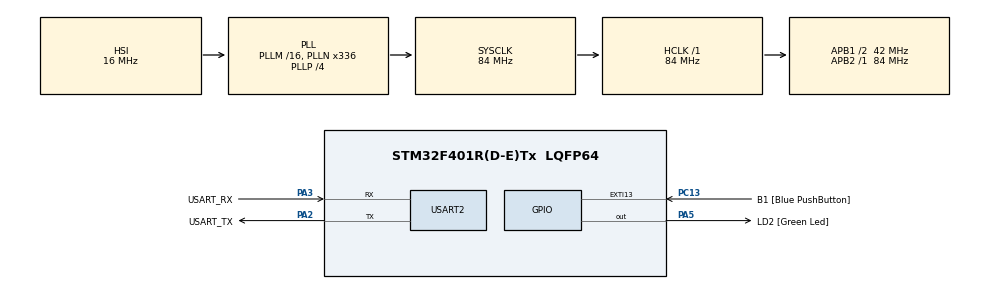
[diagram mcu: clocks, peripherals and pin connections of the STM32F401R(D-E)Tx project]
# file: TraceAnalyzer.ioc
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FREERTOS.INCLUDE_xSemaphoreGetMutexHolder=1
FREERTOS.Mutexes01=Mutex,Dynamic,NULL
FREERTOS.Queues01=File_tapis_arrivee,10,uint16_t,0,Dynamic,NULL,NULL;File_tapis_relecture,10,uint16_t,0,Dynamic,NULL,NULL;File_depart_national,10,uint16_t,0,Dynamic,NULL,NULL;File_depart_international,10,uint16_t,0,Dynamic,NULL,NULL
FREERTOS.Tasks01=defaultTask,24,128,IdleTask,Default,NULL,Dynamic,NULL,NULL;Task_Tache_arri,8,128,Tache_arrivee,Default,NULL,Dynamic,NULL,NULL;Task_Tache_lect,8,128,Tache_lecture_rapide,Default,NULL,Dynamic,NULL,NULL;Task_Tache_rele,8,128,Tache_relecture,Default,NULL,Dynamic,NULL,NULL;Task_Tache_depa,8,128,Tache_depart_national,Default,NULL,Dynamic,NULL,NULL;Task_Tache_inte,8,128,Tache_depart_international,Default,NULL,Dynamic,NULL,NULL
Mcu.Family=STM32F4
Mcu.Name=STM32F401R(D-E)Tx
Mcu.Package=LQFP64
NVIC.PriorityGroup=NVIC_PRIORITYGROUP_4
NVIC.TIM2_IRQn=true\:0\:0\:false\:false\:true\:false\:false\:true
NVIC.TimeBase=TIM2_IRQn
NVIC.TimeBaseIP=TIM2
PA13.GPIO_Label=TMS
PA13.Mode=Serial_Wire
PA13.Signal=SYS_JTMS-SWDIO
PA14.GPIO_Label=TCK
PA14.Mode=Serial_Wire
PA14.Signal=SYS_JTCK-SWCLK
PA2.GPIO_Label=USART_TX
PA2.GPIO_Mode=GPIO_MODE_AF_PP
PA2.GPIO_PuPd=GPIO_NOPULL
PA2.GPIO_Speed=GPIO_SPEED_FREQ_LOW
PA2.Mode=Asynchronous
PA2.Signal=USART2_TX
PA3.GPIO_Label=USART_RX
PA3.GPIO_Mode=GPIO_MODE_AF_PP
PA3.GPIO_PuPd=GPIO_NOPULL
PA3.GPIO_Speed=GPIO_SPEED_FREQ_LOW
PA3.Mode=Asynchronous
PA3.Signal=USART2_RX
PA5.GPIO_Label=LD2 [Green Led]
PA5.GPIO_Mode=GPIO_MODE_OUTPUT_PP
PA5.GPIO_PuPd=GPIO_NOPULL
PA5.GPIO_Speed=GPIO_SPEED_FREQ_LOW
PA5.Signal=GPIO_Output
PB3.GPIO_Label=SWO
PB3.Signal=SYS_JTDO-SWO
PC13-ANTI_TAMP.GPIO_Label=B1 [Blue PushButton]
PC13-ANTI_TAMP.GPIO_ModeDefaultEXTI=GPIO_MODE_IT_FALLING
PC13-ANTI_TAMP.GPIO_PuPd=GPIO_NOPULL
PC13-ANTI_TAMP.Signal=GPXTI13
PC14-OSC32_IN.Mode=LSE-External-Oscillator
PC14-OSC32_IN.Signal=RCC_OSC32_IN
PC15-OSC32_OUT.Mode=LSE-External-Oscillator
PC15-OSC32_OUT.Signal=RCC_OSC32_OUT
PH0\ -\ OSC_IN.Mode=HSE-External-Clock-Source
PH0\ -\ OSC_IN.Signal=RCC_OSC_IN
PH1\ -\ OSC_OUT.Mode=HSE-External-Clock-Source
PH1\ -\ OSC_OUT.Signal=RCC_OSC_OUT
ProjectManager.HeapSize=0x200
ProjectManager.StackSize=0x400
ProjectManager.TargetToolchain=STM32CubeIDE
RCC.48MHZClocksFreq_Value=48000000
RCC.AHBFreq_Value=84000000
RCC.APB1CLKDivider=RCC_HCLK_DIV2
RCC.APB1Freq_Value=42000000
RCC.APB1TimFreq_Value=84000000
RCC.APB2Freq_Value=84000000
RCC.APB2TimFreq_Value=84000000
RCC.CortexFreq_Value=84000000
RCC.HCLKFreq_Value=84000000
RCC.HSE_VALUE=8000000
RCC.HSI_VALUE=16000000
RCC.PLLN=336
RCC.PLLP=RCC_PLLP_DIV4
RCC.PLLQ=7
RCC.SYSCLKFreq_VALUE=84000000
RCC.SYSCLKSource=RCC_SYSCLKSOURCE_PLLCLK
RCC.VCOOutputFreq_Value=336000000
USART2.VirtualMode=VM_ASYNC
VP_FREERTOS_VS_CMSIS_V2.Mode=CMSIS_V2
VP_SYS_VS_tim2.Mode=TIM2
board=NUCLEO-F401RE

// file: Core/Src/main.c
/* USER CODE BEGIN Header */
/**
  ******************************************************************************
  * @file           : main.c
  * @brief          : Main program body
  ******************************************************************************
  * @attention
  *
  * <h2><center>&copy; Copyright (c) 2020 STMicroelectronics.
  * All rights reserved.</center></h2>
  *
  * This software component is licensed by ST under BSD 3-Clause license,
  * the "License"; You may not use this file except in compliance with the
  * License. You may obtain a copy of the License at:
  *                        opensource.org/licenses/BSD-3-Clause
  *
  ******************************************************************************
  */
/* USER CODE END Header */
#include "main.h"
#include "cmsis_os.h"
#include "FreeRTOS.h"

/* USER CODE BEGIN Includes */
#include "queue.h"
#include "semphr.h"
#include <string.h>
#include <stdio.h>
/* USER CODE END Includes */

/* USER CODE BEGIN PTD */
// Création du sémaphore pour la ressource partagée
xSemaphoreHandle Semaphore;
xSemaphoreHandle SemaphoreLectureRapide;
xSemaphoreHandle SemaphoreReLecture;
xSemaphoreHandle SemaphoreNational;
xSemaphoreHandle SemaphoreInternational;
/* USER CODE END PTD */

/* USER CODE BEGIN PD */

// Définition du nombre d'éléments pour les files
#define x 10 // nombre d'éléments pour la File_tapis_arrivee
#define y 10 // nombre d'éléments pour la File_depart_national et File_depart_international
#define z 10 // nombre d'éléments pour la File_tapis_relecture

// Définition du delai pour la tâche de relecture
#define DELAI_RELECTURE   500

// Définition des timeout pour les files en ms
#define TIMEOUT_FILE_TAPIS_ARRIVEE   100
#define TIMEOUT_FILE_TAPIS_RELECTURE 100
#define TIMEOUT_FILE_TAPIS_DEPART	100  // Timeout identique en national ou international

/* USER CODE END PD */

UART_HandleTypeDef huart2;

/* Definitions for defaultTask */
/* Definitions for Task_Tache_arri */
osThreadId_t Task_Tache_arriHandle;
const osThreadAttr_t Task_Tache_arri_attributes = {
  .name = "Task_Tache_arri",
  .priority = (osPriority_t) osPriorityHigh,
  .stack_size = 128 * 4
};
/* Definitions for Task_Tache_lect */
osThreadId_t Task_Tache_lectHandle;
const osThreadAttr_t Task_Tache_lect_attributes = {
  .name = "Task_Tache_lect",
  .priority = (osPriority_t) osPriorityNormal,
  .stack_size = 128 * 4
};
/* Definitions for Task_Tache_rele */
osThreadId_t Task_Tache_releHandle;
const osThreadAttr_t Task_Tache_rele_attributes = {
  .name = "Task_Tache_rele",
  .priority = (osPriority_t) osPriorityNormal,
  .stack_size = 128 * 4
};
/* Definitions for Task_Tache_depa */
osThreadId_t Task_Tache_depaHandle;
const osThreadAttr_t Task_Tache_depa_attributes = {
  .name = "Task_Tache_depa",
  .priority = (osPriority_t) osPriorityNormal,
  .stack_size = 128 * 4
};
/* Definitions for Task_Tache_inte */
osThreadId_t Task_Tache_inteHandle;
const osThreadAttr_t Task_Tache_inte_attributes = {
  .name = "Task_Tache_inte",
  .priority = (osPriority_t) osPriorityNormal,
  .stack_size = 128 * 4
};
/* Definitions for File_tapis_arrivee */
osMessageQueueId_t File_tapis_arriveeHandle;
const osMessageQueueAttr_t File_tapis_arrivee_attributes = {
  .name = "File_tapis_arrivee"
};
/* Definitions for File_tapis_relecture */
osMessageQueueId_t File_tapis_relectureHandle;
const osMessageQueueAttr_t File_tapis_relecture_attributes = {
  .name = "File_tapis_relecture"
};
/* Definitions for File_depart_national */
osMessageQueueId_t File_depart_nationalHandle;
const osMessageQueueAttr_t File_depart_national_attributes = {
  .name = "File_depart_national"
};
/* Definitions for File_depart_international */
osMessageQueueId_t File_depart_internationalHandle;
const osMessageQueueAttr_t File_depart_international_attributes = {
  .name = "File_depart_international"
};
/* Definitions for Mutex */
osMutexId_t MutexHandle;
const osMutexAttr_t Mutex_attributes = {
  .name = "Mutex"
};

void SystemClock_Config(void);
static void MX_GPIO_Init(void);
static void MX_USART2_UART_Init(void);
void vApplicationIdleHook( void );
void Tache_arrivee(void *argument);
void Tache_lecture_rapide(void *argument);
void Tache_relecture(void *argument);
void Tache_depart_national(void *argument);
void Tache_depart_international(void *argument);

int main(void)
{

  /* MCU Configuration--------------------------------------------------------*/

  /* Reset of all peripherals, Initializes the Flash interface and the Systick. */
  HAL_Init();

  /* Configure the system clock */
  SystemClock_Config();

  /* Initialize all configured peripherals */
  MX_GPIO_Init();
  MX_USART2_UART_Init();
  /* USER CODE BEGIN 2 */

  vTraceEnable(TRC_START);

  /* USER CODE END 2 */

  /* Init scheduler */
  osKernelInitialize();
  /* Create the mutex(es) */
  /* creation of Mutex */
  MutexHandle = osMutexNew(&Mutex_attributes);

  /* USER CODE BEGIN RTOS_SEMAPHORES */
  /* add semaphores, ... */

  Semaphore = xSemaphoreCreateMutex();

  SemaphoreLectureRapide = xSemaphoreCreateMutex();

  SemaphoreReLecture = xSemaphoreCreateMutex();

  SemaphoreInternational = xSemaphoreCreateMutex();

  SemaphoreNational = xSemaphoreCreateMutex();
  /* USER CODE END RTOS_SEMAPHORES */

  /* Create the queue(s) */
  /* creation of File_tapis_arrivee */
  File_tapis_arriveeHandle = osMessageQueueNew (x, sizeof(unsigned int), &File_tapis_arrivee_attributes);

  /* creation of File_tapis_relecture */
  File_tapis_relectureHandle = osMessageQueueNew (y, sizeof(unsigned int), &File_tapis_relecture_attributes);

  /* creation of File_depart_national */
  File_depart_nationalHandle = osMessageQueueNew (z, sizeof(unsigned int), &File_depart_national_attributes);

  /* creation of File_depart_international */
  File_depart_internationalHandle = osMessageQueueNew (z, sizeof(unsigned int), &File_depart_international_attributes);

  /* Create the thread(s) */
  /* creation of Task_Tache_arri */
  Task_Tache_arriHandle = osThreadNew(Tache_arrivee, NULL, &Task_Tache_arri_attributes);

  /* Start scheduler */
  osKernelStart();

  /* We should never get here as control is now taken by the scheduler */
  /* Infinite loop */
  while (1)
  {

  }
}

void SystemClock_Config(void)
{
  RCC_OscInitTypeDef RCC_OscInitStruct = {0};
  RCC_ClkInitTypeDef RCC_ClkInitStruct = {0};

  /** Configure the main internal regulator output voltage
  */
  __HAL_RCC_PWR_CLK_ENABLE();
  __HAL_PWR_VOLTAGESCALING_CONFIG(PWR_REGULATOR_VOLTAGE_SCALE2);
  /** Initializes the RCC Oscillators according to the specified parameters
  * in the RCC_OscInitTypeDef structure.
  */
  RCC_OscInitStruct.OscillatorType = RCC_OSCILLATORTYPE_HSI;
  RCC_OscInitStruct.HSIState = RCC_HSI_ON;
  RCC_OscInitStruct.HSICalibrationValue = RCC_HSICALIBRATION_DEFAULT;
  RCC_OscInitStruct.PLL.PLLState = RCC_PLL_ON;
  RCC_OscInitStruct.PLL.PLLSource = RCC_PLLSOURCE_HSI;
  RCC_OscInitStruct.PLL.PLLM = 16;
  RCC_OscInitStruct.PLL.PLLN = 336;
  RCC_OscInitStruct.PLL.PLLP = RCC_PLLP_DIV4;
  RCC_OscInitStruct.PLL.PLLQ = 7;
  if (HAL_RCC_OscConfig(&RCC_OscInitStruct) != HAL_OK)
  {
    Error_Handler();
  }
  /** Initializes the CPU, AHB and APB buses clocks
  */
  RCC_ClkInitStruct.ClockType = RCC_CLOCKTYPE_HCLK|RCC_CLOCKTYPE_SYSCLK
                              |RCC_CLOCKTYPE_PCLK1|RCC_CLOCKTYPE_PCLK2;
  RCC_ClkInitStruct.SYSCLKSource = RCC_SYSCLKSOURCE_PLLCLK;
  RCC_ClkInitStruct.AHBCLKDivider = RCC_SYSCLK_DIV1;
  RCC_ClkInitStruct.APB1CLKDivider = RCC_HCLK_DIV2;
  RCC_ClkInitStruct.APB2CLKDivider = RCC_HCLK_DIV1;

  if (HAL_RCC_ClockConfig(&RCC_ClkInitStruct, FLASH_LATENCY_2) != HAL_OK)
  {
    Error_Handler();
  }
}

static void MX_USART2_UART_Init(void)
{

  huart2.Instance = USART2;
  huart2.Init.BaudRate = 115200;
  huart2.Init.WordLength = UART_WORDLENGTH_8B;
  huart2.Init.StopBits = UART_STOPBITS_1;
  huart2.Init.Parity = UART_PARITY_NONE;
  huart2.Init.Mode = UART_MODE_TX_RX;
  huart2.Init.HwFlowCtl = UART_HWCONTROL_NONE;
  huart2.Init.OverSampling = UART_OVERSAMPLING_16;
  if (HAL_UART_Init(&huart2) != HAL_OK)
  {
    Error_Handler();
  }

}

static void MX_GPIO_Init(void)
{
  GPIO_InitTypeDef GPIO_InitStruct = {0};

  /* GPIO Ports Clock Enable */
  __HAL_RCC_GPIOC_CLK_ENABLE();
  __HAL_RCC_GPIOH_CLK_ENABLE();
  __HAL_RCC_GPIOA_CLK_ENABLE();
  __HAL_RCC_GPIOB_CLK_ENABLE();

  /*Configure GPIO pin Output Level */
  HAL_GPIO_WritePin(LD2_GPIO_Port, LD2_Pin, GPIO_PIN_RESET);

  /*Configure GPIO pin : B1_Pin */
  GPIO_InitStruct.Pin = B1_Pin;
  GPIO_InitStruct.Mode = GPIO_MODE_IT_FALLING;
  GPIO_InitStruct.Pull = GPIO_NOPULL;
  HAL_GPIO_Init(B1_GPIO_Port, &GPIO_InitStruct);

  /*Configure GPIO pin : LD2_Pin */
  GPIO_InitStruct.Pin = LD2_Pin;
  GPIO_InitStruct.Mode = GPIO_MODE_OUTPUT_PP;
  GPIO_InitStruct.Pull = GPIO_NOPULL;
  GPIO_InitStruct.Speed = GPIO_SPEED_FREQ_LOW;
  HAL_GPIO_Init(LD2_GPIO_Port, &GPIO_InitStruct);

}

/* USER CODE BEGIN 4 */
void affiche_message(char *txt){
	//semaphore take
	if (xSemaphoreTake(Semaphore,(portTickType)1000/portTICK_RATE_MS)) //On prend la ressource partagée
	{
		HAL_UART_Transmit(&huart2, txt, strlen(txt), HAL_MAX_DELAY);
	}
	xSemaphoreGive(Semaphore); //On rend le jeton
}
/* USER CODE END 4 */

void vApplicationIdleHook(void)
{
	for(;;){

	}
	vTaskDelete( NULL );
}

void Tache_arrivee(void *argument)
{
	unsigned int liste_colis[]={ 1,  3,  1,  2,  3,  0}; // Etat des bits B2, B1 et B0 -> 0 à 3 en décimal car B2=0
	unsigned int liste_delai[]={ 5,100,200, 300,40, 500}; // Temps d'attente en ms pour le colis suivant
	unsigned int num_colis = 0; // Initilisation du numéro de colis
	unsigned int colis; // Colis (étiquette)
	char etiquette;
	char buff[] = "Le colis No 1 est depose sur le tapis roulant et il porte l'etiquette 5\r\n";
	/* creation of Task_Tache_lect */
	Task_Tache_lectHandle = osThreadNew(Tache_lecture_rapide, NULL, &Task_Tache_lect_attributes);

	for(;;){
		etiquette = liste_colis[num_colis % (sizeof(liste_colis)/sizeof(unsigned int))];
		colis = (num_colis<<3) + etiquette;
		if(!xQueueSendToBack(File_tapis_arriveeHandle, &colis, TIMEOUT_FILE_TAPIS_ARRIVEE)) // Il faudra gérer le débordement et afficher un message d'erreur
		{
			affiche_message("Debordement : Echec de l'envoi du colis\r\n");
		}
		sprintf(buff,"Le colis No %d est depose sur le tapis roulant et il porte l'etiquette %d\r\n",num_colis, etiquette);	// Il faudra gérer l'affichage comme une ressource partagée
		num_colis++;
		affiche_message(buff);
		vTaskDelay(liste_delai[num_colis % (sizeof(liste_colis)/sizeof(unsigned int))]/portTICK_RATE_MS); // Attente entre deux colis en ms

	}
	vTaskDelete( NULL );
  /* USER CODE END Tache_arrivee */
}

void Tache_lecture_rapide(void *argument)
{
  /* USER CODE BEGIN Tache_lecture_rapide */
  unsigned int colis; // buffer de la file
  char buff[50];
  /* Infinite loop */
  Task_Tache_inteHandle = osThreadNew(Tache_depart_international, NULL, &Task_Tache_inte_attributes);
  Task_Tache_depaHandle = osThreadNew(Tache_depart_national, NULL, &Task_Tache_depa_attributes);
  Task_Tache_lectHandle = osThreadNew(Tache_relecture, NULL, &Task_Tache_rele_attributes);
  for(;;)
  {
	  if (xQueuePeek(File_tapis_arriveeHandle,&colis,TIMEOUT_FILE_TAPIS_ARRIVEE)) //Si on reçoit quelque chose dans la file.
		{
		  if (xQueueReceive(File_tapis_arriveeHandle,&colis,TIMEOUT_FILE_TAPIS_ARRIVEE)) //Alors on l'efface de la file
			{

			  colis = colis & 0xFFFFFFFB;//Set du bit B2 à 0;

			  if (colis & 2) //Si B1 = 1 : Etiquette invisible
			  {
				  if(!xQueueSendToBack(File_tapis_relectureHandle, &colis, TIMEOUT_FILE_TAPIS_RELECTURE)) // Il faudra gérer le débordement et afficher un message d'erreur
				{
					affiche_message("Debordement : Echec de le la file relecture\r\n");
				}
			  }
			  else{ //B1=0 : Etiquette visible
				  if (colis & 1){//Traitement colis tâche national si B0 ==0
					  affiche_message("Mise sur tapis pour le national !\r\n");
					  if(!xQueueSendToBack(File_depart_nationalHandle, &colis, TIMEOUT_FILE_TAPIS_DEPART)) // Il faudra gérer le débordement et afficher un message d'erreur
						{
							affiche_message("Debordement : Echec de l'envoi du colis au national\r\n");
						}
				  }
				  else{//Traitement colis tâche international si B0==1
					  affiche_message("Mise sur tapis pour l'international !\r\n");
					  if(!xQueueSendToBack(File_depart_internationalHandle, &colis, TIMEOUT_FILE_TAPIS_DEPART)) // Il faudra gérer le débordement et afficher un message d'erreur
						{
							affiche_message("Debordement : Echec de l'envoi du colis au international\r\n");
						}
				  }
			  }

			  sprintf(buff,"Tache lecture rapide : %d\r\n",colis);
			  affiche_message(buff);
			}
		}

	  osDelay(1);
  }
  vTaskDelete( NULL );
  /* USER CODE END Tache_lecture_rapide */
}

void Tache_relecture(void *argument)
{
  /* USER CODE BEGIN Tache_relecture */
	unsigned int colis; // buffer de la file
	char buff[50];
  /* Infinite loop */
  for(;;)
  {
	  if (xSemaphoreTake(SemaphoreReLecture,(portTickType)1000/portTICK_RATE_MS)) //On prend la ressource partagée
	  {
		  if (xQueuePeek(File_tapis_relectureHandle,&colis,TIMEOUT_FILE_TAPIS_RELECTURE)) //Si on reçoit quelque chose dans la file.
				{
				  if (xQueueReceive(File_tapis_relectureHandle,&colis,TIMEOUT_FILE_TAPIS_RELECTURE)) //Alors on l'efface de la file
					{
					  //Traitement colis tâche national si B0 ==0

					  //Traitement colis tâche international si B0==1

					  colis = colis | 0x0000004;//Set du bit B2 à 1;

					  colis = colis & 0xFFFFFFFD;//Set du bit B1 à 0;

					  sprintf(buff,"Tache relecture : %d\r\n",colis);

					  if(!xQueueSendToFront(File_tapis_arriveeHandle, &colis, TIMEOUT_FILE_TAPIS_ARRIVEE)) // Il faudra gérer le débordement et afficher un message d'erreur
						{
							affiche_message("Debordement : Echec de l'envoi du colis dans le retour arrivée\r\n");
						}

					  affiche_message(buff);
					}
				}
	  }
	  xSemaphoreGive(SemaphoreReLecture); //On rend le jeton
	  osDelay(1);
  }
  vTaskDelete( NULL );
  /* USER CODE END Tache_relecture */
}

void Tache_depart_national(void *argument)
{
  /* USER CODE BEGIN Tache_depart_national */
	unsigned int pvBuffer; // buffer de la file
  /* Infinite loop */
  for(;;)
  {
	  if (xSemaphoreTake(SemaphoreNational,(portTickType)1000/portTICK_RATE_MS)) //On prend la ressource partagée
		{
		  if (xQueuePeek(File_depart_nationalHandle,&pvBuffer,TIMEOUT_FILE_TAPIS_RELECTURE)) //Si on reçoit quelque chose dans la file.
			{
			  if (xQueueReceive(File_depart_nationalHandle,&pvBuffer,TIMEOUT_FILE_TAPIS_RELECTURE)) //Alors on l'efface de la file
				{

				  affiche_message("Colis envoyé au national !\r\n");
				}
			}
		}
	  xSemaphoreGive(SemaphoreNational); //On rend le jeton
	  osDelay(1);
  }
  vTaskDelete( NULL );
  /* USER CODE END Tache_depart_national */
}

void Tache_depart_international(void *argument)
{
  /* USER CODE BEGIN Tache_depart_international */
	unsigned int pvBuffer; // buffer de la file
  /* Infinite loop */
  for(;;)
  {
	  if (xSemaphoreTake(SemaphoreInternational,(portTickType)1000/portTICK_RATE_MS)) //On prend la ressource partagée
	  	{
		  if (xQueuePeek(File_depart_internationalHandle,&pvBuffer,TIMEOUT_FILE_TAPIS_RELECTURE)) //Si on reçoit quelque chose dans la file.
			{
			  if (xQueueReceive(File_depart_internationalHandle,&pvBuffer,TIMEOUT_FILE_TAPIS_RELECTURE)) //Alors on l'efface de la file
				{

				affiche_message("Colis envoyé à l'international !\r\n");
				}
			}

	  	}
	  xSemaphoreGive(SemaphoreInternational); //On rend le jeton
	  osDelay(1);
  }
  vTaskDelete( NULL );
  /* USER CODE END Tache_depart_international */
}

 /**
  * @brief  Period elapsed callback in non blocking mode
  * @note   This function is called  when TIM2 interrupt took place, inside
  * HAL_TIM_IRQHandler(). It makes a direct call to HAL_IncTick() to increment
  * a global variable "uwTick" used as application time base.
  * @param  htim : TIM handle
  * @retval None
  */
void HAL_TIM_PeriodElapsedCallback(TIM_HandleTypeDef *htim)
{
  if (htim->Instance == TIM2) {
    HAL_IncTick();
  }
}

void Error_Handler(void)
{
  __disable_irq();
  while (1)
  {
  }
}

/************************ (C) COPYRIGHT STMicroelectronics *****END OF FILE****/
